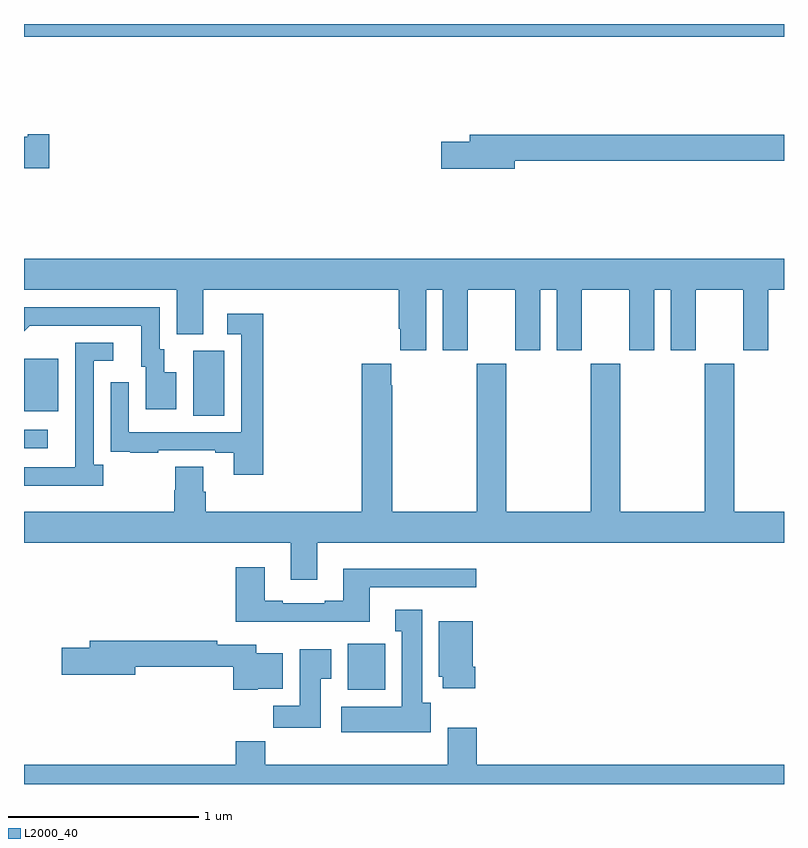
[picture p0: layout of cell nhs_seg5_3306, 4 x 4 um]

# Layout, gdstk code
import gdstk
lib = gdstk.Library(unit=1e-6, precision=1e-09)
def R(c, l, rs):  # rectangles x0, y0, x1, y1
    for r in rs: c.add(gdstk.rectangle(r[:2], r[2:], *l))
def P(c, l, *ps):  # polygons
    for p in ps: c.add(gdstk.Polygon(p, *l))
L2000_40 = (2000, 40)

nhs_seg5_3306 = lib.new_cell('nhs_seg5_3306')
R(nhs_seg5_3306, L2000_40, [(304.703,881.294,304.9,881.536), (303,882.567,303.124,882.663), (303.89,882.736,304.054,883.08), (303,882.761,303.181,883.036), (303,884.732,307,884.799)])
P(nhs_seg5_3306, L2000_40, [(303.133,884.219),(303.02,884.219),(303.02,884.206),(303,884.206),(303,884.041),(303.133,884.041)],
  [(305.584,884.08),(307,884.08),(307,884.216),(305.345,884.216),(305.345,884.18),(305.196,884.18),(305.196,884.038),(305.584,884.038)],
  [(305.116,883.4),(305.204,883.4),(305.204,883.083),(305.335,883.083),(305.335,883.4),(305.585,883.4),(305.585,883.083),(305.716,883.083),(305.716,883.4),(305.804,883.4),(305.804,883.083),(305.935,883.083),(305.935,883.4),(306.185,883.4),(306.185,883.083),(306.316,883.083),(306.316,883.4),(306.404,883.4),(306.404,883.083),(306.535,883.083),(306.535,883.4),(306.785,883.4),(306.785,883.083),(306.916,883.083),(306.916,883.4),(307,883.4),(307,883.564),(303,883.564),(303,883.4),(303.803,883.4),(303.803,883.165),(303.943,883.165),(303.943,883.4),(304.973,883.4),(304.973,883.195),(304.979,883.195),(304.979,883.083),(305.116,883.083)],
  [(303.802,882.967),(303.739,882.967),(303.739,883.086),(303.714,883.086),(303.714,883.308),(303,883.308),(303,883.182),(303.03,883.212),(303.617,883.212),(303.617,882.996),(303.641,882.996),(303.641,882.771),(303.802,882.771)],
  [(304.259,883.273),(304.071,883.273),(304.071,883.167),(304.143,883.167),(304.143,882.651),(303.552,882.651),(303.552,882.913),(303.456,882.913),(303.456,882.658),(303.457,882.658),(303.457,882.549),(303.559,882.549),(303.559,882.543),(303.707,882.543),(303.707,882.555),(304.007,882.555),(304.007,882.543),(304.103,882.543),(304.103,882.426),(304.259,882.426)],
  [(303.418,882.478),(303.366,882.478),(303.366,883.026),(303.469,883.026),(303.469,883.122),(303.27,883.122),(303.27,882.665),(303.269,882.665),(303.269,882.465),(303,882.465),(303,882.368),(303.418,882.368)],
  [(304.543,882.068),(307,882.068),(307,882.232),(306.738,882.232),(306.738,883.012),(306.583,883.012),(306.583,882.232),(306.138,882.232),(306.138,883.012),(305.983,883.012),(305.983,882.232),(305.538,882.232),(305.538,883.012),(305.383,883.012),(305.383,882.232),(304.938,882.232),(304.938,882.899),(304.933,882.899),(304.933,883.012),(304.778,883.012),(304.778,882.232),(303.956,882.232),(303.956,882.338),(303.943,882.338),(303.943,882.47),(303.796,882.47),(303.796,882.345),(303.791,882.345),(303.791,882.232),(303,882.232),(303,882.068),(304.403,882.068),(304.403,881.874),(304.543,881.874)],
  [(304.819,881.835),(305.38,881.835),(305.38,881.932),(304.679,881.932),(304.679,881.764),(304.583,881.764),(304.583,881.751),(304.363,881.751),(304.363,881.764),(304.267,881.764),(304.267,881.941),(304.115,881.941),(304.115,881.654),(304.819,881.654)],
  [(305.14,881.226),(305.095,881.226),(305.095,881.716),(304.955,881.716),(304.955,881.603),(304.988,881.603),(304.988,881.206),(304.671,881.206),(304.671,881.072),(305.14,881.072)],
  [(305.375,881.416),(305.362,881.416),(305.362,881.656),(305.183,881.656),(305.183,881.364),(305.204,881.364),(305.204,881.304),(305.375,881.304)],
  [(304.23,881.3),(304.363,881.3),(304.363,881.488),(304.222,881.488),(304.222,881.532),(304.016,881.532),(304.016,881.552),(303.347,881.552),(303.347,881.516),(303.198,881.516),(303.198,881.374),(303.586,881.374),(303.586,881.416),(304.1,881.416),(304.1,881.294),(304.23,881.294)],
  [(304.561,881.353),(304.618,881.353),(304.618,881.509),(304.451,881.509),(304.451,881.212),(304.312,881.212),(304.312,881.094),(304.561,881.094)],
  [(307,880.9),(305.384,880.9),(305.384,881.095),(305.231,881.095),(305.231,880.9),(304.271,880.9),(304.271,881.024),(304.115,881.024),(304.115,880.9),(303,880.9),(303,880.799),(307,880.799)])

lib.write_gds('nhs_seg5_3306.gds')
